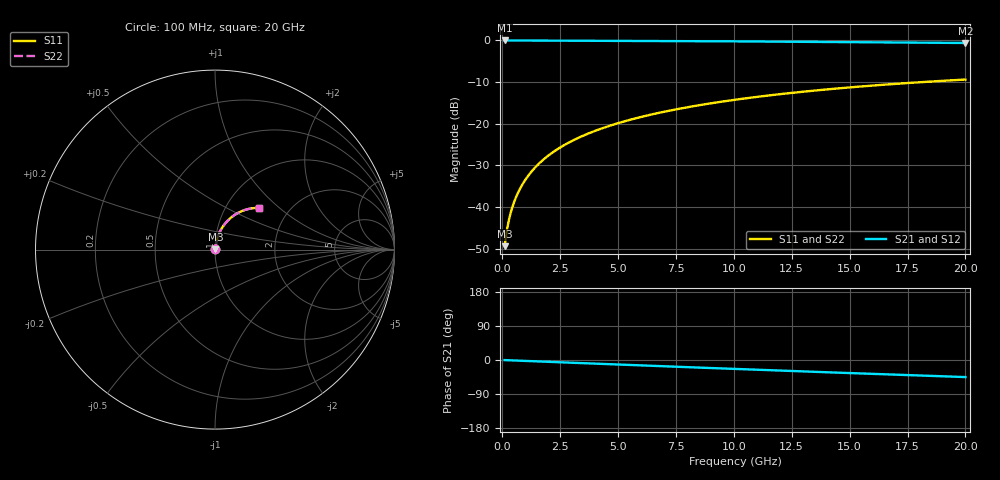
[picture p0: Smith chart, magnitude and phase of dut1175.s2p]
! Touchstone file exported from HFSS 2026.1.0
!  File:  C:/ffzhzh/LocalFiles/Ansys_Project_Files/temp_train_TMRDL_1175_1783162546_43440.aedt
!  Generated:  06:57:03 PM Jul  4, 2026
!  Design:  TMRDL
!  Project:  temp_train_TMRDL_1175_1783162546_43440
! Variables:
!  h_bsmrdl = 2um
!  h_ox = 20um
!  h_rdl = 5um
!  h_sub = 80um
!  h_tmrdl = 3.85um
!  h_tsv = 80um
!  h_via = 3um
!  l_bsmrdl = 300um
!  l_sub = 1095.97um
!  l_tmrdl = 695.97um
!  m_sub = 200um
!  pitch = 52.81um
!  r_tsv = 6um
!  s_tmrdl = 10um
!  w_bsmrdl = 18um
!  w_sub = 500um
!  w_tmrdl = 29.7um
!  x_tsv_center1 = 710.82um
!  x_tsv_center2 = 1028.82um
!  x_tsv_center3 = 1754.49um
!  x_tsv_center4 = 2072.49um
!  x_tsv_center5 = 2798.16um
!  x_tsv_center6 = 3116.16um
# GHz S MA R 50.000000
! Terminal data exported
! Port[1] = TM_RDL1_1_T1
! Port[2] = TM_RDL1_1_T2
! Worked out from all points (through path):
!   200 points, 100 MHz to 20 GHz, reference 50 ohm
!   highest |S21| = -0.02 dB at 100 MHz (marker M1); lowest = -0.6 dB at 20 GHz (marker M2)
!   group delay of S21, straight-line fit = 6.26 ps
!   lowest |S11| = -49.4 dB at 100 MHz (marker M3), VSWR 1.01, Z = 50.2 + j0.238 ohm
!   |S11| at or under -10 dB: start of sweep to 18.16 GHz
!   |S22| runs from -49.4 to -9.4 dB; largest |S21 - S12| = 5e-15
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0.1  0.003394 44.2  0.9976 -0.3  0.9976 -0.3  0.003394 44.2
! Gamma 0 0 0 0
! Port Impedance 50 0 50 0
0.2  0.005318 59.9  0.9974 -0.5  0.9974 -0.5  0.005319 59.9
0.3  0.007321 66.5  0.9972 -0.8  0.9972 -0.8  0.007321 66.5
0.4  0.009308 70.3  0.997 -1.0  0.997 -1.0  0.009309 70.3
0.5  0.01129 72.9  0.9969 -1.2  0.9969 -1.2  0.01129 72.9
0.6  0.01328 74.7  0.9968 -1.5  0.9968 -1.5  0.01328 74.7
0.8  0.01728 77.1  0.9966 -1.9  0.9966 -1.9  0.01728 77.0
1.1  0.02335 78.9  0.9964 -2.7  0.9964 -2.7  0.02335 78.9
1.3  0.02741 79.5  0.9962 -3.1  0.9962 -3.1  0.02741 79.5
1.6  0.03353 80.0  0.9959 -3.9  0.9959 -3.9  0.03353 80.0
2.1  0.04372 79.9  0.9953 -5.1  0.9953 -5.1  0.04372 79.9
2.7  0.05589 79.3  0.9944 -6.5  0.9944 -6.5  0.05589 79.3
3.5  0.07198 78.0  0.9929 -8.4  0.9929 -8.4  0.07198 78.0
4.2  0.08587 76.6  0.9914 -10.1  0.9914 -10.1  0.08587 76.6
5  0.1015 75.0  0.9894 -11.9  0.9894 -11.9  0.1015 75.0
5.9  0.1188 73.1  0.9869 -14.0  0.9869 -14.0  0.1188 73.1
6.8  0.1357 71.1  0.9842 -16.1  0.9842 -16.1  0.1357 71.1
8.3  0.1631 67.8  0.9793 -19.6  0.9793 -19.6  0.1631 67.8
10.1  0.1947 63.9  0.9727 -23.7  0.9727 -23.7  0.1947 63.9
13.4  0.2486 56.9  0.9594 -31.0  0.9594 -31.0  0.2486 56.9
16.7  0.2968 50.0  0.945 -38.1  0.945 -38.1  0.2968 50.0
20  0.3389 43.3  0.9304 -45.1  0.9304 -45.1  0.339 43.2
